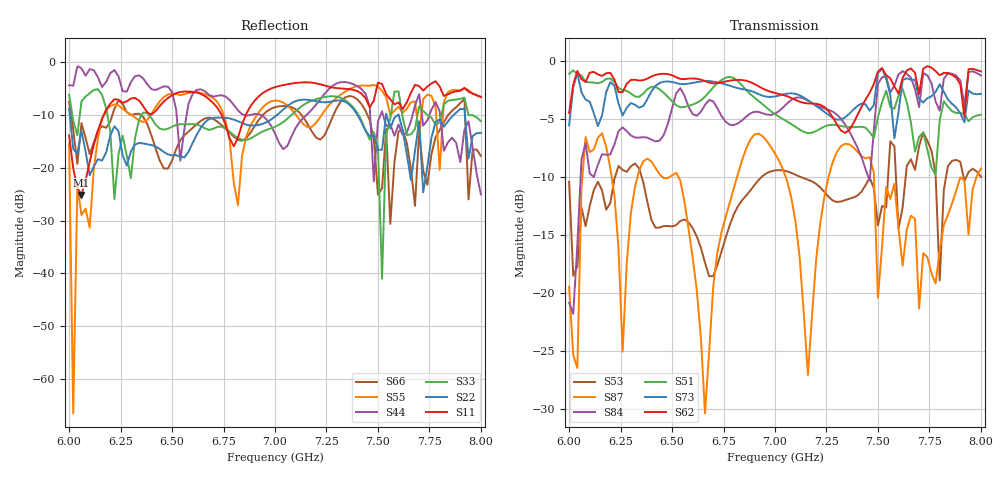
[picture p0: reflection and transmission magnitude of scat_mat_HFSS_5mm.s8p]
! Touchstone file exported from HFSS 2020.1.0
!  File:  D:/Users/rblandin/Documents/Ansoft/scatterer_in_waveguide.aedt
!  Generated:  5:09:03  janv. 16, 2025
!  Design:  HFSSDesign1
!  Project:  scatterer_in_waveguide
!  Setup:  scatmat
!  Solution:  Sweep
! Variables:
!  $height = 5mm
!  $pos_x = 100mm
!  $pos_x_1 = 28.772922mm
!  $pos_x_2 = 55.98679mm
!  $pos_x_3 = 44.27246mm
!  $pos_y = 25mm
!  $pos_y_1 = 43.348048mm
!  $pos_y_2 = 48.8323mm
!  $pos_y_3 = 236.06804mm
!  $radius = 3.1mm
# GHZ S MA R 50.000000
! Terminal data exported
! Port[1] = 1:1
! Port[2] = 1:2
! Port[3] = 1:3
! Port[4] = 1:4
! Port[5] = 2:1
! Port[6] = 2:2
! Port[7] = 2:3
! Port[8] = 2:4
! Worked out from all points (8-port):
!   101 points, 6 GHz to 8 GHz, reference per port
!   strongest paths, dB at 6 GHz, 6.5 GHz, 7 GHz, 7.5 GHz, 8 GHz:
!     S62: -4.5, -1.2, -2.7, -0.9, -0.9
!     S73: -5.5, -1.8, -3.0, -1.0, -2.8
!     S51: -1.1, -3.4, -4.6, -4.8, -4.6
!     S84: -20.8, -4.1, -4.5, -1.9, -1.2
!     S87: -19.5, -9.9, -8.0, -20.4, -9.3
!     S53: -10.4, -14.3, -9.4, -14.2, -10.0
!   lowest |S11| = -25.2 dB at 6.06 GHz (marker M1), VSWR 1.12
!   |S11| at or under -10 dB: start of sweep to 6.169 GHz; 6.741 GHz to 6.858 GHz (117.3 MHz wide, 1.72 % of centre)
